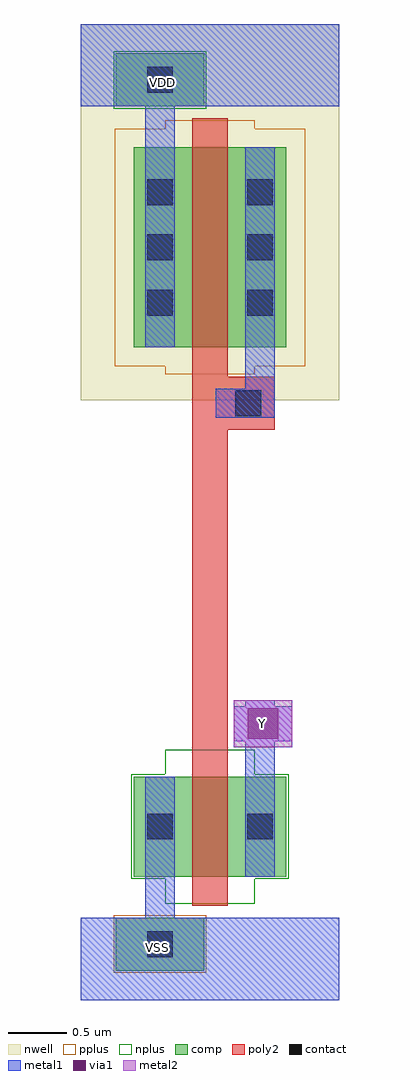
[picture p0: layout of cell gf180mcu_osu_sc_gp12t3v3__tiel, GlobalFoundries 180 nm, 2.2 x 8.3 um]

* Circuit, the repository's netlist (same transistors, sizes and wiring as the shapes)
* Copyright 2022 Google LLC
*
* Licensed under the Apache License, Version 2.0 (the "License");
* you may not use this file except in compliance with the License.
* You may obtain a copy of the License at
*
*      http://www.apache.org/licenses/LICENSE-2.0
*
* Unless required by applicable law or agreed to in writing, software
* distributed under the License is distributed on an "AS IS" BASIS,
* WITHOUT WARRANTIES OR CONDITIONS OF ANY KIND, either express or implied.
* See the License for the specific language governing permissions and
* limitations under the License.

* NGSPICE file created from gf180mcu_osu_sc_gp12t3v3__tiel.ext - technology: gf180mcuC

.subckt gf180mcu_osu_sc_gp12t3v3__tiel Y VDD VSS
X0 a_19_16# a_19_16# VDD VDD pfet_03p3 w=1.7u l=0.3u
X1 Y a_19_16# VSS VSS nfet_03p3 w=0.85u l=0.3u
.ends

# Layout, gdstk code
import gdstk
lib = gdstk.Library(unit=1e-6, precision=1e-09)
def R(c, l, rs):  # rectangles x0, y0, x1, y1
    for r in rs: c.add(gdstk.rectangle(r[:2], r[2:], *l))
def A(c, l, x, y, w, h, nx, ny, dx, dy):  # array of equal rectangles
    R(c, l, [(x+i*dx, y+j*dy, x+i*dx+w, y+j*dy+h) for i in range(nx) for j in range(ny)])
nwell = (21, 0)
comp = (22, 0)
poly2 = (30, 0)
pplus = (31, 0)
nplus = (32, 0)
contact = (33, 0)
metal1 = (34, 0)
via1 = (35, 0)
metal2 = (36, 0)

gf180mcu_osu_sc_gp12t3v3 = lib.new_cell('gf180mcu_osu_sc_gp12t3v3__tiel')
R(gf180mcu_osu_sc_gp12t3v3, nwell, [(0,5.1,2.2,8.3)])
R(gf180mcu_osu_sc_gp12t3v3, comp, [(0.3,0.25,1.05,0.7), (0.45,1.05,1.75,1.9), (0.45,5.55,1.75,7.25), (0.3,7.6,1.05,8.05)])
R(gf180mcu_osu_sc_gp12t3v3, poly2, [(0.95,0.8,1.25,4.85), (0.95,4.85,1.65,5.3), (0.95,5.3,1.25,7.5)])
R(gf180mcu_osu_sc_gp12t3v3, pplus, [(0.28,0.23,1.07,0.72), (0.72,5.32,1.48,5.39), (0.29,5.39,1.91,7.41), (0.72,7.41,1.48,7.48)])
R(gf180mcu_osu_sc_gp12t3v3, nplus, [(0.72,0.82,1.48,1.03), (0.43,1.03,1.77,1.92), (0.72,1.92,1.48,2.13), (0.28,7.58,1.07,8.07)])
A(gf180mcu_osu_sc_gp12t3v3, contact, 0.565, 5.82, 0.22, 0.22, 1, 3, 0, 0.47)
A(gf180mcu_osu_sc_gp12t3v3, contact, 1.415, 5.82, 0.22, 0.22, 1, 3, 0, 0.47)
R(gf180mcu_osu_sc_gp12t3v3, contact, [(0.565,0.365,0.785,0.585), (0.565,1.365,0.785,1.585), (1.415,1.365,1.635,1.585), (1.315,4.965,1.535,5.185), (0.565,7.715,0.785,7.935)])
R(gf180mcu_osu_sc_gp12t3v3, metal1, [(0,0,2.2,0.7), (0.55,0.7,0.8,1.9), (1.4,1.05,1.65,2.2), (1.3,2.2,1.8,2.5), (1.4,2.5,1.65,2.55), (1.15,4.95,1.65,5.2), (1.4,5.2,1.65,7.25), (0.55,5.55,0.8,7.6), (0,7.6,2.2,8.3)])
R(gf180mcu_osu_sc_gp12t3v3, via1, [(1.42,2.22,1.68,2.48)])
R(gf180mcu_osu_sc_gp12t3v3, metal2, [(1.3,2.15,1.8,2.55)])
gf180mcu_osu_sc_gp12t3v3.add(gdstk.Label('Y', (1.55,2.35), layer=36, texttype=10))
gf180mcu_osu_sc_gp12t3v3.add(gdstk.Label('VDD', (0.7,7.8), layer=34, texttype=10))
gf180mcu_osu_sc_gp12t3v3.add(gdstk.Label('VSS', (0.65,0.45), layer=34, texttype=10))

lib.write_gds('gf180mcu_osu_sc_gp12t3v3__tiel.gds')
